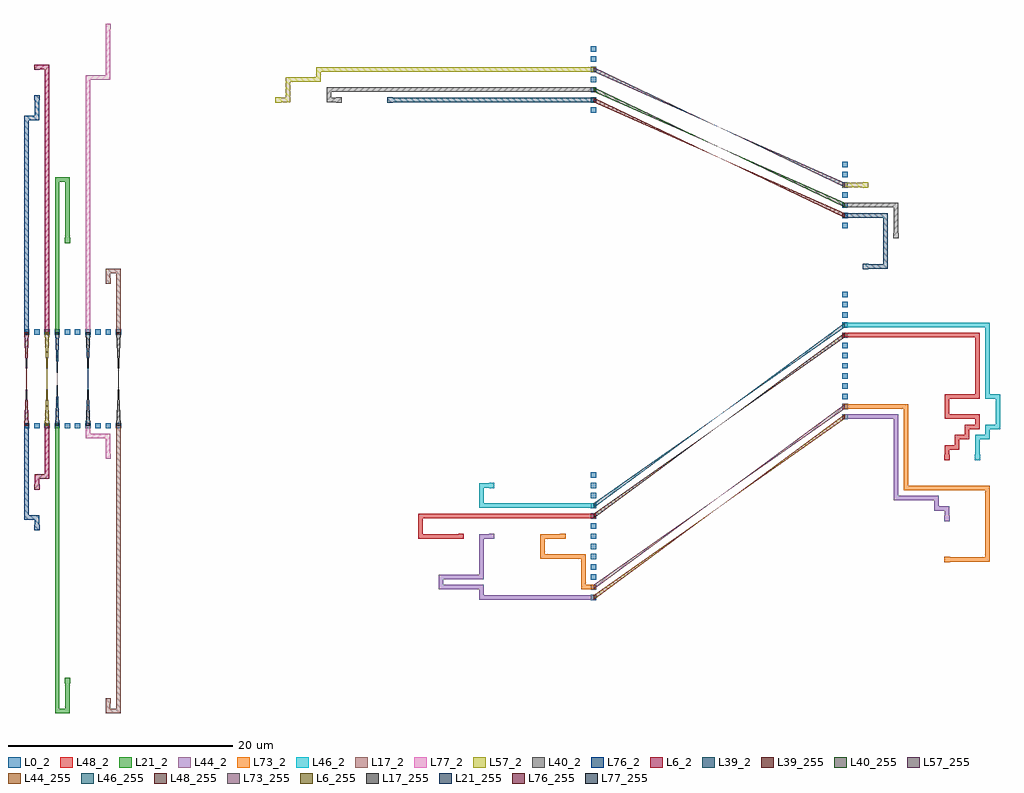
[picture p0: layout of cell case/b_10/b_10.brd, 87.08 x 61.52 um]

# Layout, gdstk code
import gdstk
lib = gdstk.Library(unit=1e-6, precision=2.5e-10)
def R(c, l, rs):  # rectangles x0, y0, x1, y1
    for r in rs: c.add(gdstk.rectangle(r[:2], r[2:], *l))
def A(c, l, x, y, w, h, nx, ny, dx, dy):  # array of equal rectangles
    R(c, l, [(x+i*dx, y+j*dy, x+i*dx+w, y+j*dy+h) for i in range(nx) for j in range(ny)])
def P(c, l, *ps):  # polygons
    for p in ps: c.add(gdstk.Polygon(p, *l))
L0_2 = (0, 2)
L6_2 = (6, 2)
L6_255 = (6, 255)
L17_2 = (17, 2)
L17_255 = (17, 255)
L21_2 = (21, 2)
L21_255 = (21, 255)
L39_2 = (39, 2)
L39_255 = (39, 255)
L40_2 = (40, 2)
L40_255 = (40, 255)
L44_2 = (44, 2)
L44_255 = (44, 255)
L46_2 = (46, 2)
L46_255 = (46, 255)
L48_2 = (48, 2)
L48_255 = (48, 255)
L57_2 = (57, 2)
L57_255 = (57, 255)
L73_2 = (73, 2)
L73_255 = (73, 255)
L76_2 = (76, 2)
L76_255 = (76, 255)
L77_2 = (77, 2)
L77_255 = (77, 255)

case_b_10_b_10_brd = lib.new_cell('case/b_10/b_10.brd')
R(case_b_10_b_10_brd, L0_2, [(549.308,193.147,549.788,193.627), (549.308,193.147,549.788,193.627), (549.308,193.147,549.788,193.627), (549.308,193.147,549.788,193.627), (549.308,194.056,549.788,194.536), (549.308,194.056,549.788,194.536), (549.308,194.056,549.788,194.536), (549.308,194.056,549.788,194.536), (549.308,194.965,549.788,195.445), (549.308,194.965,549.788,195.445), (549.308,194.965,549.788,195.445), (549.308,194.965,549.788,195.445), (549.308,195.874,549.788,196.354), (549.308,195.874,549.788,196.354), (549.308,195.874,549.788,196.354), (549.308,195.874,549.788,196.354), (549.308,196.783,549.788,197.263), (549.308,196.783,549.788,197.263), (549.308,196.783,549.788,197.263), (549.308,196.783,549.788,197.263), (549.308,197.692,549.788,198.172), (549.308,197.692,549.788,198.172), (549.308,197.692,549.788,198.172), (549.308,197.692,549.788,198.172), (549.308,198.601,549.788,199.081), (549.308,198.601,549.788,199.081), (549.308,198.601,549.788,199.081), (549.308,198.601,549.788,199.081), (549.308,199.51,549.788,199.99), (549.308,199.51,549.788,199.99), (549.308,199.51,549.788,199.99), (549.308,199.51,549.788,199.99), (549.308,200.419,549.788,200.899), (549.308,200.419,549.788,200.899), (549.308,200.419,549.788,200.899), (549.308,200.419,549.788,200.899), (549.308,201.328,549.788,201.808), (549.308,201.328,549.788,201.808), (549.308,201.328,549.788,201.808), (549.308,201.328,549.788,201.808), (549.308,202.237,549.788,202.717), (549.308,202.237,549.788,202.717), (549.308,202.237,549.788,202.717), (549.308,202.237,549.788,202.717), (549.308,203.146,549.788,203.626), (549.308,203.146,549.788,203.626), (549.308,203.146,549.788,203.626), (549.308,203.146,549.788,203.626), (549.308,204.055,549.788,204.535), (549.308,204.055,549.788,204.535), (549.308,204.055,549.788,204.535), (549.308,204.055,549.788,204.535), (498.719,208.463,499.199,208.943), (498.719,208.463,499.199,208.943), (498.719,208.463,499.199,208.943), (498.719,208.463,499.199,208.943), (498.719,208.463,499.199,208.943), (499.628,208.463,500.108,208.943), (499.628,208.463,500.108,208.943), (499.628,208.463,500.108,208.943), (499.628,208.463,500.108,208.943), (499.628,208.463,500.108,208.943), (500.537,208.463,501.017,208.943), (500.537,208.463,501.017,208.943), (500.537,208.463,501.017,208.943), (500.537,208.463,501.017,208.943), (500.537,208.463,501.017,208.943), (501.446,208.463,501.926,208.943), (501.446,208.463,501.926,208.943), (501.446,208.463,501.926,208.943), (501.446,208.463,501.926,208.943), (501.446,208.463,501.926,208.943), (502.355,208.463,502.835,208.943), (502.355,208.463,502.835,208.943), (502.355,208.463,502.835,208.943), (502.355,208.463,502.835,208.943), (502.355,208.463,502.835,208.943), (503.264,208.463,503.744,208.943), (503.264,208.463,503.744,208.943), (503.264,208.463,503.744,208.943), (503.264,208.463,503.744,208.943), (503.264,208.463,503.744,208.943), (504.173,208.463,504.653,208.943), (504.173,208.463,504.653,208.943), (504.173,208.463,504.653,208.943), (504.173,208.463,504.653,208.943), (504.173,208.463,504.653,208.943), (505.082,208.463,505.562,208.943), (505.082,208.463,505.562,208.943), (505.082,208.463,505.562,208.943), (505.082,208.463,505.562,208.943), (505.082,208.463,505.562,208.943), (505.991,208.463,506.471,208.943), (505.991,208.463,506.471,208.943), (505.991,208.463,506.471,208.943), (505.991,208.463,506.471,208.943), (505.991,208.463,506.471,208.943), (506.9,208.463,507.38,208.943), (506.9,208.463,507.38,208.943), (506.9,208.463,507.38,208.943), (506.9,208.463,507.38,208.943), (506.9,208.463,507.38,208.943), (571.728,209.267,572.208,209.747), (571.728,209.267,572.208,209.747), (571.728,209.267,572.208,209.747), (571.728,209.267,572.208,209.747), (571.728,210.176,572.208,210.656), (571.728,210.176,572.208,210.656), (571.728,210.176,572.208,210.656), (571.728,210.176,572.208,210.656), (571.728,211.085,572.208,211.565), (571.728,211.085,572.208,211.565), (571.728,211.085,572.208,211.565), (571.728,211.085,572.208,211.565), (571.728,211.994,572.208,212.474), (571.728,211.994,572.208,212.474), (571.728,211.994,572.208,212.474), (571.728,211.994,572.208,212.474), (571.728,212.903,572.208,213.383), (571.728,212.903,572.208,213.383), (571.728,212.903,572.208,213.383), (571.728,212.903,572.208,213.383), (571.728,213.812,572.208,214.292), (571.728,213.812,572.208,214.292), (571.728,213.812,572.208,214.292), (571.728,213.812,572.208,214.292), (571.728,214.721,572.208,215.201), (571.728,214.721,572.208,215.201), (571.728,214.721,572.208,215.201), (571.728,214.721,572.208,215.201), (571.728,215.63,572.208,216.11), (571.728,215.63,572.208,216.11), (571.728,215.63,572.208,216.11), (571.728,215.63,572.208,216.11), (571.728,216.539,572.208,217.019), (571.728,216.539,572.208,217.019), (571.728,216.539,572.208,217.019), (571.728,216.539,572.208,217.019), (498.719,216.82,499.199,217.3), (498.719,216.82,499.199,217.3), (498.719,216.82,499.199,217.3), (498.719,216.82,499.199,217.3), (498.719,216.82,499.199,217.3), (499.628,216.82,500.108,217.3), (499.628,216.82,500.108,217.3), (499.628,216.82,500.108,217.3), (499.628,216.82,500.108,217.3), (499.628,216.82,500.108,217.3), (500.537,216.82,501.017,217.3), (500.537,216.82,501.017,217.3), (500.537,216.82,501.017,217.3), (500.537,216.82,501.017,217.3), (500.537,216.82,501.017,217.3), (501.446,216.82,501.926,217.3), (501.446,216.82,501.926,217.3), (501.446,216.82,501.926,217.3), (501.446,216.82,501.926,217.3), (501.446,216.82,501.926,217.3), (502.355,216.82,502.835,217.3), (502.355,216.82,502.835,217.3), (502.355,216.82,502.835,217.3), (502.355,216.82,502.835,217.3), (502.355,216.82,502.835,217.3), (503.264,216.82,503.744,217.3), (503.264,216.82,503.744,217.3), (503.264,216.82,503.744,217.3), (503.264,216.82,503.744,217.3), (503.264,216.82,503.744,217.3), (504.173,216.82,504.653,217.3), (504.173,216.82,504.653,217.3), (504.173,216.82,504.653,217.3), (504.173,216.82,504.653,217.3), (504.173,216.82,504.653,217.3), (505.082,216.82,505.562,217.3), (505.082,216.82,505.562,217.3), (505.082,216.82,505.562,217.3), (505.082,216.82,505.562,217.3), (505.082,216.82,505.562,217.3), (505.991,216.82,506.471,217.3), (505.991,216.82,506.471,217.3), (505.991,216.82,506.471,217.3), (505.991,216.82,506.471,217.3), (505.991,216.82,506.471,217.3), (506.9,216.82,507.38,217.3), (506.9,216.82,507.38,217.3), (506.9,216.82,507.38,217.3), (506.9,216.82,507.38,217.3), (506.9,216.82,507.38,217.3), (571.728,217.448,572.208,217.928), (571.728,217.448,572.208,217.928), (571.728,217.448,572.208,217.928), (571.728,217.448,572.208,217.928), (571.728,218.357,572.208,218.837), (571.728,218.357,572.208,218.837), (571.728,218.357,572.208,218.837), (571.728,218.357,572.208,218.837), (571.728,219.266,572.208,219.746), (571.728,219.266,572.208,219.746), (571.728,219.266,572.208,219.746), (571.728,219.266,572.208,219.746), (571.728,220.175,572.208,220.655), (571.728,220.175,572.208,220.655), (571.728,220.175,572.208,220.655), (571.728,220.175,572.208,220.655), (571.728,226.321,572.208,226.801), (571.728,226.321,572.208,226.801), (571.728,226.321,572.208,226.801), (571.728,227.23,572.208,227.71), (571.728,227.23,572.208,227.71), (571.728,227.23,572.208,227.71), (571.728,228.139,572.208,228.619), (571.728,228.139,572.208,228.619), (571.728,228.139,572.208,228.619), (571.728,229.048,572.208,229.528), (571.728,229.048,572.208,229.528), (571.728,229.048,572.208,229.528), (571.728,229.957,572.208,230.437), (571.728,229.957,572.208,230.437), (571.728,229.957,572.208,230.437), (571.728,230.866,572.208,231.346), (571.728,230.866,572.208,231.346), (571.728,230.866,572.208,231.346), (571.728,231.775,572.208,232.255), (571.728,231.775,572.208,232.255), (571.728,231.775,572.208,232.255), (549.308,236.627,549.788,237.107), (549.308,236.627,549.788,237.107), (549.308,236.627,549.788,237.107), (549.308,237.536,549.788,238.016), (549.308,237.536,549.788,238.016), (549.308,237.536,549.788,238.016), (549.308,238.445,549.788,238.925), (549.308,238.445,549.788,238.925), (549.308,238.445,549.788,238.925), (549.308,239.354,549.788,239.834), (549.308,239.354,549.788,239.834), (549.308,239.354,549.788,239.834), (549.308,240.263,549.788,240.743), (549.308,240.263,549.788,240.743), (549.308,240.263,549.788,240.743), (549.308,241.172,549.788,241.652), (549.308,241.172,549.788,241.652), (549.308,241.172,549.788,241.652), (549.308,242.081,549.788,242.561), (549.308,242.081,549.788,242.561), (549.308,242.081,549.788,242.561)])
A(case_b_10_b_10_brd, L6_2, 500.577, 203.958, 0.4, 1.309, 1, 5, 0, 0.909)
A(case_b_10_b_10_brd, L6_2, 500.577, 216.86, 0.4, 1.309, 1, 26, 0, 0.909)
R(case_b_10_b_10_brd, L6_2, [(499.628,203.009,500.108,203.489), (499.668,203.049,500.068,204.358), (499.668,203.958,500.977,204.358), (499.628,240.454,500.108,240.934), (499.668,240.494,500.977,240.894)])
P(case_b_10_b_10_brd, L6_255, [(500.577,217.06),(500.977,217.06),(500.577,208.703),(500.977,208.703)])
A(case_b_10_b_10_brd, L17_2, 506.94, 183.051, 0.4, 1.309, 1, 28, 0, 0.909)
A(case_b_10_b_10_brd, L17_2, 506.94, 216.86, 0.4, 1.309, 1, 6, 0, 0.909)
R(case_b_10_b_10_brd, L17_2, [(506.031,183.051,507.34,183.451), (506.031,183.051,506.431,184.36), (505.991,183.92,506.471,184.4), (505.991,221.365,506.471,221.845), (506.031,221.405,506.431,222.714), (506.031,222.314,507.34,222.714)])
P(case_b_10_b_10_brd, L17_255, [(506.94,217.06),(507.34,217.06),(506.94,208.703),(507.34,208.703)])
A(case_b_10_b_10_brd, L21_2, 501.486, 183.051, 0.4, 1.309, 1, 28, 0, 0.909)
A(case_b_10_b_10_brd, L21_2, 502.395, 183.051, 0.4, 1.309, 1, 3, 0, 0.909)
A(case_b_10_b_10_brd, L21_2, 501.486, 216.86, 0.4, 1.309, 1, 15, 0, 0.909)
A(case_b_10_b_10_brd, L21_2, 502.395, 225.041, 0.4, 1.309, 1, 6, 0, 0.909)
R(case_b_10_b_10_brd, L21_2, [(501.486,183.051,502.795,183.451), (502.355,185.738,502.835,186.218), (502.355,225.001,502.835,225.481), (501.486,230.495,502.795,230.895)])
P(case_b_10_b_10_brd, L21_255, [(501.486,217.06),(501.886,217.06),(501.486,208.703),(501.886,208.703)])
A(case_b_10_b_10_brd, L39_2, 575.404, 222.725, 0.4, 1.309, 1, 5, 0, 0.909)
A(case_b_10_b_10_brd, L39_2, 571.768, 227.27, 1.309, 0.4, 4, 1, 0.909, 0)
A(case_b_10_b_10_brd, L39_2, 531.168, 237.576, 1.309, 0.4, 20, 1, 0.909, 0)
R(case_b_10_b_10_brd, L39_2, [(573.546,222.685,574.026,223.165), (573.586,222.725,574.895,223.125), (574.495,222.725,575.804,223.125), (531.128,237.536,531.608,238.016)])
P(case_b_10_b_10_brd, L39_255, [(571.968,227.27),(571.968,227.67),(549.548,237.576),(549.548,237.976)])
A(case_b_10_b_10_brd, L40_2, 576.313, 225.452, 0.4, 1.309, 1, 3, 0, 0.909)
A(case_b_10_b_10_brd, L40_2, 571.768, 228.179, 1.309, 0.4, 5, 1, 0.909, 0)
A(case_b_10_b_10_brd, L40_2, 525.714, 238.485, 1.309, 0.4, 26, 1, 0.909, 0)
R(case_b_10_b_10_brd, L40_2, [(576.273,225.412,576.753,225.892), (526.583,237.536,527.063,238.016), (525.714,237.576,527.023,237.976), (525.714,237.576,526.114,238.885)])
P(case_b_10_b_10_brd, L40_255, [(571.968,228.179),(571.968,228.579),(549.548,238.485),(549.548,238.885)])
A(case_b_10_b_10_brd, L44_2, 539.349, 193.187, 1.309, 0.4, 11, 1, 0.909, 0)
A(case_b_10_b_10_brd, L44_2, 535.713, 194.096, 1.309, 0.4, 4, 2, 0.909, 0.909)
A(case_b_10_b_10_brd, L44_2, 539.349, 195.005, 0.4, 1.309, 1, 4, 0, 0.909)
A(case_b_10_b_10_brd, L44_2, 576.313, 202.035, 1.309, 0.4, 4, 1, 0.909, 0)
A(case_b_10_b_10_brd, L44_2, 576.313, 202.035, 0.4, 1.309, 1, 8, 0, 0.909)
A(case_b_10_b_10_brd, L44_2, 571.768, 209.307, 1.309, 0.4, 5, 1, 0.909, 0)
R(case_b_10_b_10_brd, L44_2, [(539.349,193.187,539.749,194.496), (535.713,194.096,536.113,195.405), (540.218,198.601,540.698,199.081), (539.349,198.641,540.658,199.041), (580.818,200.177,581.298,200.657), (580.858,200.217,581.258,201.526), (579.949,201.126,581.258,201.526), (579.949,201.126,580.349,202.435)])
P(case_b_10_b_10_brd, L44_255, [(571.968,209.307),(571.968,209.707),(549.548,193.187),(549.548,193.587)])
A(case_b_10_b_10_brd, L46_2, 539.349, 201.368, 1.309, 0.4, 11, 1, 0.909, 0)
A(case_b_10_b_10_brd, L46_2, 585.403, 208.398, 0.4, 1.309, 1, 3, 0, 0.909)
A(case_b_10_b_10_brd, L46_2, 584.494, 211.125, 0.4, 1.309, 1, 7, 0, 0.909)
A(case_b_10_b_10_brd, L46_2, 571.768, 217.488, 1.309, 0.4, 14, 1, 0.909, 0)
R(case_b_10_b_10_brd, L46_2, [(539.349,201.368,539.749,202.677), (539.349,202.277,539.749,203.586), (540.218,203.146,540.698,203.626), (539.349,203.186,540.658,203.586), (583.545,205.631,584.025,206.111), (583.585,205.671,583.985,206.98), (583.585,206.58,583.985,207.889), (583.585,207.489,584.894,207.889), (584.494,207.489,584.894,208.798), (584.494,208.398,585.803,208.798), (584.494,211.125,585.803,211.525)])
P(case_b_10_b_10_brd, L46_255, [(571.968,217.488),(571.968,217.888),(549.548,201.368),(549.548,201.768)])
A(case_b_10_b_10_brd, L48_2, 533.895, 198.641, 1.309, 0.4, 4, 1, 0.909, 0)
A(case_b_10_b_10_brd, L48_2, 533.895, 200.459, 1.309, 0.4, 17, 1, 0.909, 0)
A(case_b_10_b_10_brd, L48_2, 580.858, 209.307, 1.309, 0.4, 3, 2, 0.909, 1.818)
A(case_b_10_b_10_brd, L48_2, 583.585, 211.125, 0.4, 1.309, 1, 6, 0, 0.909)
A(case_b_10_b_10_brd, L48_2, 571.768, 216.579, 1.309, 0.4, 13, 1, 0.909, 0)
R(case_b_10_b_10_brd, L48_2, [(537.491,198.601,537.971,199.081), (533.895,198.641,534.295,199.95), (533.895,199.55,534.295,200.859), (580.818,205.631,581.298,206.111), (580.858,205.671,581.258,206.98), (580.858,206.58,582.167,206.98), (581.767,206.58,582.167,207.889), (581.767,207.489,583.076,207.889), (582.676,207.489,583.076,208.798), (582.676,208.398,583.985,208.798), (583.585,208.398,583.985,209.707), (580.858,209.307,581.258,210.616), (580.858,210.216,581.258,211.525)])
P(case_b_10_b_10_brd, L48_255, [(571.968,216.579),(571.968,216.979),(549.548,200.459),(549.548,200.859)])
A(case_b_10_b_10_brd, L57_2, 522.078, 239.394, 1.309, 0.4, 3, 1, 0.909, 0)
A(case_b_10_b_10_brd, L57_2, 524.805, 240.303, 1.309, 0.4, 27, 1, 0.909, 0)
R(case_b_10_b_10_brd, L57_2, [(573.546,229.957,574.026,230.437), (571.768,229.997,573.077,230.397), (572.677,229.997,573.986,230.397), (521.129,237.536,521.609,238.016), (521.169,237.576,522.478,237.976), (522.078,237.576,522.478,238.885), (522.078,238.485,522.478,239.794), (524.805,239.394,525.205,240.703)])
P(case_b_10_b_10_brd, L57_255, [(571.968,229.997),(571.968,230.397),(549.548,240.303),(549.548,240.703)])
A(case_b_10_b_10_brd, L73_2, 548.439, 194.096, 0.4, 1.309, 1, 3, 0, 0.909)
A(case_b_10_b_10_brd, L73_2, 580.858, 196.581, 1.309, 0.4, 4, 1, 0.909, 0)
A(case_b_10_b_10_brd, L73_2, 584.494, 196.581, 0.4, 1.309, 1, 7, 0, 0.909)
A(case_b_10_b_10_brd, L73_2, 544.803, 196.823, 1.309, 0.4, 4, 1, 0.909, 0)
A(case_b_10_b_10_brd, L73_2, 577.222, 202.944, 1.309, 0.4, 8, 1, 0.909, 0)
A(case_b_10_b_10_brd, L73_2, 577.222, 202.944, 0.4, 1.309, 1, 8, 0, 0.909)
A(case_b_10_b_10_brd, L73_2, 571.768, 210.216, 1.309, 0.4, 6, 1, 0.909, 0)
R(case_b_10_b_10_brd, L73_2, [(548.439,194.096,549.748,194.496), (580.818,196.541,581.298,197.021), (544.803,196.823,545.203,198.132), (544.803,197.732,545.203,199.041), (546.581,198.601,547.061,199.081), (544.803,198.641,546.112,199.041), (545.712,198.641,547.021,199.041)])
P(case_b_10_b_10_brd, L73_255, [(571.968,210.216),(571.968,210.616),(549.548,194.096),(549.548,194.496)])
A(case_b_10_b_10_brd, L76_2, 498.759, 200.322, 0.4, 1.309, 1, 9, 0, 0.909)
A(case_b_10_b_10_brd, L76_2, 498.759, 216.86, 0.4, 1.309, 1, 21, 0, 0.909)
R(case_b_10_b_10_brd, L76_2, [(499.628,199.373,500.108,199.853), (499.668,199.413,500.068,200.722), (498.759,200.322,500.068,200.722), (498.759,235.949,500.068,236.349), (499.668,235.949,500.068,237.258), (499.668,236.858,500.068,238.167), (499.628,237.727,500.108,238.207)])
P(case_b_10_b_10_brd, L76_255, [(498.759,217.06),(499.159,217.06),(498.759,208.703),(499.159,208.703)])
A(case_b_10_b_10_brd, L77_2, 504.213, 216.86, 0.4, 1.309, 1, 25, 0, 0.909)
A(case_b_10_b_10_brd, L77_2, 506.031, 239.585, 0.4, 1.309, 1, 5, 0, 0.909)
R(case_b_10_b_10_brd, L77_2, [(505.991,205.736,506.471,206.216), (506.031,205.776,506.431,207.085), (506.031,206.685,506.431,207.994), (504.213,207.594,505.522,207.994), (504.213,207.594,504.613,208.903), (505.122,207.594,506.431,207.994), (504.213,239.585,505.522,239.985), (505.122,239.585,506.431,239.985), (505.991,244.09,506.471,244.57)])
P(case_b_10_b_10_brd, L77_255, [(504.213,217.06),(504.613,217.06),(504.213,208.703),(504.613,208.703)])

lib.write_gds('case_b_10_b_10.brd.gds')
